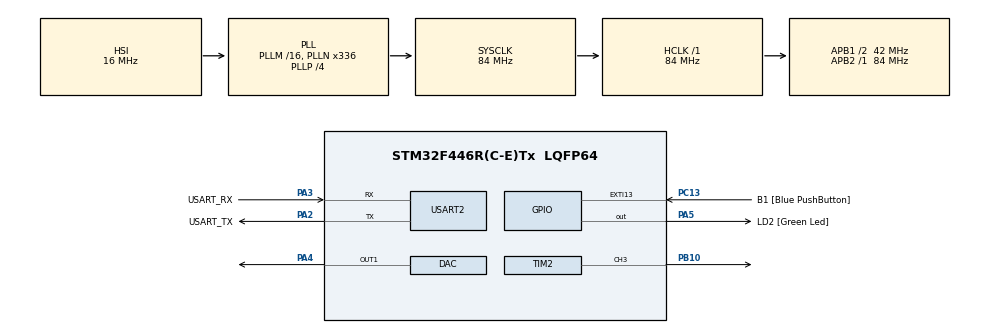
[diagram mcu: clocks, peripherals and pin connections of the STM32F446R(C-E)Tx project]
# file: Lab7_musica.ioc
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DAC.DAC_Trigger=DAC_TRIGGER_T6_TRGO
Dma.DAC1.0.Direction=DMA_MEMORY_TO_PERIPH
Dma.DAC1.0.FIFOMode=DMA_FIFOMODE_DISABLE
Dma.DAC1.0.Instance=DMA1_Stream5
Dma.DAC1.0.MemDataAlignment=DMA_MDATAALIGN_BYTE
Dma.DAC1.0.MemInc=DMA_MINC_ENABLE
Dma.DAC1.0.Mode=DMA_NORMAL
Dma.DAC1.0.PeriphDataAlignment=DMA_PDATAALIGN_BYTE
Dma.DAC1.0.PeriphInc=DMA_PINC_DISABLE
Dma.DAC1.0.Priority=DMA_PRIORITY_HIGH
Dma.Request0=DAC1
Mcu.Family=STM32F4
Mcu.Name=STM32F446R(C-E)Tx
Mcu.Package=LQFP64
NVIC.DMA1_Stream5_IRQn=true\:0\:0\:false\:false\:true\:false\:true\:true
NVIC.PriorityGroup=NVIC_PRIORITYGROUP_0
NVIC.TIM6_DAC_IRQn=true\:0\:0\:false\:false\:true\:true\:true\:true
NVIC.USART2_IRQn=true\:0\:0\:false\:false\:true\:true\:true\:true
PA13.GPIO_Label=TMS
PA13.Signal=SYS_JTMS-SWDIO
PA14.GPIO_Label=TCK
PA14.Signal=SYS_JTCK-SWCLK
PA2.GPIO_Label=USART_TX
PA2.Mode=Asynchronous
PA2.Signal=USART2_TX
PA3.GPIO_Label=USART_RX
PA3.Mode=Asynchronous
PA3.Signal=USART2_RX
PA4.Signal=COMP_DAC1_group
PA5.GPIO_Label=LD2 [Green Led]
PA5.Signal=GPIO_Output
PB10.Signal=S_TIM2_CH3
PB3.GPIO_Label=SWO
PB3.Signal=SYS_JTDO-SWO
PC13.GPIO_Label=B1 [Blue PushButton]
PC13.GPIO_ModeDefaultEXTI=GPIO_MODE_IT_FALLING
PC13.Signal=GPXTI13
PC14-OSC32_IN.Signal=RCC_OSC32_IN
PC15-OSC32_OUT.Signal=RCC_OSC32_OUT
PH0-OSC_IN.Signal=RCC_OSC_IN
PH1-OSC_OUT.Signal=RCC_OSC_OUT
ProjectManager.HeapSize=0x200
ProjectManager.StackSize=0x400
ProjectManager.TargetToolchain=STM32CubeIDE
RCC.AHBFreq_Value=84000000
RCC.APB1CLKDivider=RCC_HCLK_DIV2
RCC.APB1Freq_Value=42000000
RCC.APB1TimFreq_Value=84000000
RCC.APB2Freq_Value=84000000
RCC.APB2TimFreq_Value=84000000
RCC.CortexFreq_Value=84000000
RCC.FLatency-AdvancedSettings=FLASH_LATENCY_2
RCC.HCLKFreq_Value=84000000
RCC.HSE_VALUE=8000000
RCC.HSI_VALUE=16000000
RCC.LSE_VALUE=32768
RCC.PLLN=336
RCC.PLLP=RCC_PLLP_DIV4
RCC.SYSCLKFreq_VALUE=84000000
RCC.SYSCLKSource=RCC_SYSCLKSOURCE_PLLCLK
RCC.USBFreq_Value=168000000
RCC.VCOOutputFreq_Value=336000000
SH.COMP_DAC1_group.0=DAC_OUT1,DAC_OUT1
SH.S_TIM2_CH3.0=TIM2_CH3,PWM Generation3 CH3
TIM2.Channel-PWM\ Generation3\ CH3=TIM_CHANNEL_3
TIM2.Period=999
TIM2.Prescaler=83
TIM6.Period=10499
TIM6.TIM_MasterOutputTrigger=TIM_TRGO_UPDATE
USART2.VirtualMode=VM_ASYNC
VP_TIM2_VS_ClockSourceINT.Mode=Internal
VP_TIM6_VS_ClockSourceINT.Mode=Enable_Timer
board=NUCLEO-F446RE

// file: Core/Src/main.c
/* USER CODE BEGIN Header */
/**
  ******************************************************************************
  * @file           : main.c
  * @brief          : Main program body
  ******************************************************************************
  * @attention
  *
  * Copyright (c) 2026 STMicroelectronics.
  * All rights reserved.
  *
  * This software is licensed under terms that can be found in the LICENSE file
  * in the root directory of this software component.
  * If no LICENSE file comes with this software, it is provided AS-IS.
  *
  ******************************************************************************
  */
/* USER CODE END Header */
#include "main.h"

/* USER CODE BEGIN Includes */
#include <math.h>
#include <string.h>

/* USER CODE END Includes */

DAC_HandleTypeDef hdac;
DMA_HandleTypeDef hdma_dac1;

TIM_HandleTypeDef htim2;
TIM_HandleTypeDef htim6;

UART_HandleTypeDef huart2;

/* USER CODE BEGIN PV */
#define SAMPLE_RATE       8000U
#define DAC_MIDDLE        128U
#define DAC_AMPLITUDE     95.0f
#define AUDIO_BUFFER_SIZE 14000U
#define PI_F              3.14159265358979323846f
#define PWM_COUNTER_HZ 1000000U

static uint8_t dacBuffer[AUDIO_BUFFER_SIZE];

static volatile uint8_t dacFinished = 0;
static volatile uint8_t playRequest = 0;
static volatile uint8_t playing = 0;
static uint8_t uartRx;

/*
FelizNav:d=8,o=5,b=140:
a,4d6,c#6,d6,2b.,4p,b,4e6,d6,b,2a.,4p,
a,4d6,c#6,d6,4b.,g,4b,4b,a,a,b,a,4g,g,1f#
*/

static const uint16_t noteFrequency[] = {
    880, 1175, 1109, 1175, 988, 0,
    988, 1319, 1175, 988, 880, 0,
    880, 1175, 1109, 1175, 988, 784,
    988, 988, 880, 880, 988, 880,
    784, 784, 740
};

static const uint16_t noteDurationMs[] = {
    214, 429, 214, 214, 1286, 429,
    214, 429, 214, 214, 1286, 429,
    214, 429, 214, 214, 643, 214,
    429, 429, 214, 214, 214, 214,
    429, 214, 1714
};

#define NOTE_COUNT \
    (sizeof(noteFrequency) / sizeof(noteFrequency[0]))

/*
SuperMar:d=4,o=5,b=125:
a,8f.,16c,16d,16f,16p,f,16d,16c,16p,16f,16p,16f,16p,
8c6,8a.,g,16c,a,8f.,16c,16d,16f,16p,f,16d,16c,16p,
16f,16p,16a#,16a,16g,2f,16p,8a.,8f.,8c,8a.,f,16g#,
16f,16c,16p,8g#.,2g,8a.,8f.,8c,8a.,f,16g#,16f,8c,2c6
*/

static const uint16_t marioFrequency[] = {
    880, 698, 523, 587, 698, 0, 698, 587, 523, 0,
    698, 0, 698, 0, 1047, 880, 784, 523, 880, 698,
    523, 587, 698, 0, 698, 587, 523, 0, 698, 0,
    932, 880, 784, 698, 0, 880, 698, 523, 880, 698,
    831, 698, 523, 0, 831, 784, 880, 698, 523, 880,
    698, 831, 698, 523, 1047
};

static const uint16_t marioDurationMs[] = {
    480, 360, 120, 120, 120, 120, 480, 120, 120, 120,
    120, 120, 120, 120, 240, 360, 480, 120, 480, 360,
    120, 120, 120, 120, 480, 120, 120, 120, 120, 120,
    120, 120, 120, 960, 120, 360, 360, 240, 360, 480,
    120, 120, 120, 120, 360, 960, 360, 360, 240, 360,
    480, 120, 120, 240, 960
};

#define MARIO_NOTE_COUNT \
    (sizeof(marioFrequency) / sizeof(marioFrequency[0]))

/* USER CODE END PV */

void SystemClock_Config(void);
static void MX_GPIO_Init(void);
static void MX_DMA_Init(void);
static void MX_DAC_Init(void);
static void MX_TIM6_Init(void);
static void MX_USART2_UART_Init(void);
static void MX_TIM2_Init(void);
/* USER CODE BEGIN PFP */
static uint32_t GenerateNote(uint16_t frequency, uint16_t durationMs);
static void PlayFelizNavidadDAC(void);
static void PlaySuperMarioPWM(void);
static void ShowMenu(void);
/* USER CODE END PFP */

/* USER CODE BEGIN 0 */
static uint32_t GenerateNote(uint16_t frequency, uint16_t durationMs)
{
    uint32_t sampleCount =
        ((uint32_t)durationMs * SAMPLE_RATE) / 1000U;

    if (sampleCount > AUDIO_BUFFER_SIZE)
    {
        sampleCount = AUDIO_BUFFER_SIZE;
    }

    if (frequency == 0U)
    {
        memset(dacBuffer, DAC_MIDDLE, sampleCount);
        return sampleCount;
    }

    float phase = 0.0f;
    float phaseStep =
        (2.0f * PI_F * (float)frequency) / (float)SAMPLE_RATE;
    const uint32_t rampLength = SAMPLE_RATE / 200U;

    for (uint32_t i = 0; i < sampleCount; i++)
    {
        float envelope = 1.0f;

        if (i < rampLength)
        {
            envelope = (float)i / (float)rampLength;
        }
        else if ((sampleCount - i) <= rampLength)
        {
            envelope =
                (float)(sampleCount - i) / (float)rampLength;
        }

        float signal =
            (float)DAC_MIDDLE +
            DAC_AMPLITUDE * envelope * sinf(phase);

        if (signal > 255.0f)
        {
            signal = 255.0f;
        }
        else if (signal < 0.0f)
        {
            signal = 0.0f;
        }

        dacBuffer[i] = (uint8_t)signal;

        phase += phaseStep;

        if (phase >= (2.0f * PI_F))
        {
            phase -= 2.0f * PI_F;
        }
    }

    return sampleCount;
}

static void PlayFelizNavidadDAC(void)
{
    playing = 1;

    for (uint32_t note = 0; note < NOTE_COUNT; note++)
    {
        uint32_t sampleCount = GenerateNote(
            noteFrequency[note],
            noteDurationMs[note]
        );

        dacFinished = 0;
        __HAL_TIM_SET_COUNTER(&htim6, 0);

        if (HAL_DAC_Start_DMA(
                &hdac,
                DAC_CHANNEL_1,
                (uint32_t *)dacBuffer,
                sampleCount,
                DAC_ALIGN_8B_R) != HAL_OK)
        {
            Error_Handler();
        }

        if (HAL_TIM_Base_Start(&htim6) != HAL_OK)
        {
            Error_Handler();
        }

        while (dacFinished == 0)
        {
        }

        HAL_TIM_Base_Stop(&htim6);
        HAL_DAC_Stop_DMA(&hdac, DAC_CHANNEL_1);
    }

    HAL_DAC_Start(&hdac, DAC_CHANNEL_1);
    HAL_DAC_SetValue(
        &hdac,
        DAC_CHANNEL_1,
        DAC_ALIGN_8B_R,
        DAC_MIDDLE
    );

    playing = 0;
}

static void PlaySuperMarioPWM(void)
{
    playing = 1;

    if (HAL_TIM_PWM_Start(&htim2, TIM_CHANNEL_3) != HAL_OK)
    {
        Error_Handler();
    }

    for (uint32_t note = 0; note < MARIO_NOTE_COUNT; note++)
    {
        uint16_t frequency = marioFrequency[note];

        if (frequency == 0U)
        {
            __HAL_TIM_SET_COMPARE(&htim2, TIM_CHANNEL_3, 0);
        }
        else
        {
            uint32_t period = PWM_COUNTER_HZ / frequency;

            __HAL_TIM_SET_AUTORELOAD(&htim2, period - 1U);
            __HAL_TIM_SET_COMPARE(&htim2, TIM_CHANNEL_3, period / 2U);
            __HAL_TIM_SET_COUNTER(&htim2, 0);
            HAL_TIM_GenerateEvent(&htim2, TIM_EVENTSOURCE_UPDATE);
        }

        HAL_Delay(marioDurationMs[note]);
    }

    __HAL_TIM_SET_COMPARE(&htim2, TIM_CHANNEL_3, 0);
    HAL_TIM_PWM_Stop(&htim2, TIM_CHANNEL_3);

    playing = 0;
}

static void ShowMenu(void)
{
    static const char menu[] =
        "\r\n=== Reproductor DAC/PWM ===\r\n"
        "1: Feliz Navidad por DAC\r\n"
        "2: Super Mario por PWM\r\n"
        "Seleccione una opcion: ";

    HAL_UART_Transmit(
        &huart2,
        (uint8_t *)menu,
        sizeof(menu) - 1U,
        HAL_MAX_DELAY
    );
}
/* USER CODE END 0 */

int main(void)
{

  /* MCU Configuration--------------------------------------------------------*/

  /* Reset of all peripherals, Initializes the Flash interface and the Systick. */
  HAL_Init();

  /* Configure the system clock */
  SystemClock_Config();

  /* Initialize all configured peripherals */
  MX_GPIO_Init();
  MX_DMA_Init();
  MX_DAC_Init();
  MX_TIM6_Init();
  MX_USART2_UART_Init();
  MX_TIM2_Init();
  /* USER CODE BEGIN 2 */
  HAL_DAC_Start(&hdac, DAC_CHANNEL_1);

  HAL_DAC_SetValue(
      &hdac,
      DAC_CHANNEL_1,
      DAC_ALIGN_8B_R,
      DAC_MIDDLE
  );

  ShowMenu();

  HAL_UART_Receive_IT(&huart2, &uartRx, 1);
  /* USER CODE END 2 */

  /* Infinite loop */
  /* USER CODE BEGIN WHILE */
  while (1)
  {
    if (playRequest == 1)
    {
      playRequest = 0;

      PlayFelizNavidadDAC();

      HAL_UART_Transmit(
          &huart2,
          (uint8_t *)"\r\nReproduccion DAC terminada.\r\n",
          sizeof("\r\nReproduccion DAC terminada.\r\n") - 1U,
          HAL_MAX_DELAY
      );

      ShowMenu();
    }
    else if (playRequest == 2)
    {
      playRequest = 0;

      PlaySuperMarioPWM();

      HAL_UART_Transmit(
          &huart2,
          (uint8_t *)"\r\nReproduccion PWM terminada.\r\n",
          sizeof("\r\nReproduccion PWM terminada.\r\n") - 1U,
          HAL_MAX_DELAY
      );

      ShowMenu();
    }
    /* USER CODE END WHILE */

  }
}

void SystemClock_Config(void)
{
  RCC_OscInitTypeDef RCC_OscInitStruct = {0};
  RCC_ClkInitTypeDef RCC_ClkInitStruct = {0};

  /** Configure the main internal regulator output voltage
  */
  __HAL_RCC_PWR_CLK_ENABLE();
  __HAL_PWR_VOLTAGESCALING_CONFIG(PWR_REGULATOR_VOLTAGE_SCALE3);

  /** Initializes the RCC Oscillators according to the specified parameters
  * in the RCC_OscInitTypeDef structure.
  */
  RCC_OscInitStruct.OscillatorType = RCC_OSCILLATORTYPE_HSI;
  RCC_OscInitStruct.HSIState = RCC_HSI_ON;
  RCC_OscInitStruct.HSICalibrationValue = RCC_HSICALIBRATION_DEFAULT;
  RCC_OscInitStruct.PLL.PLLState = RCC_PLL_ON;
  RCC_OscInitStruct.PLL.PLLSource = RCC_PLLSOURCE_HSI;
  RCC_OscInitStruct.PLL.PLLM = 16;
  RCC_OscInitStruct.PLL.PLLN = 336;
  RCC_OscInitStruct.PLL.PLLP = RCC_PLLP_DIV4;
  RCC_OscInitStruct.PLL.PLLQ = 2;
  RCC_OscInitStruct.PLL.PLLR = 2;
  if (HAL_RCC_OscConfig(&RCC_OscInitStruct) != HAL_OK)
  {
    Error_Handler();
  }

  /** Initializes the CPU, AHB and APB buses clocks
  */
  RCC_ClkInitStruct.ClockType = RCC_CLOCKTYPE_HCLK|RCC_CLOCKTYPE_SYSCLK
                              |RCC_CLOCKTYPE_PCLK1|RCC_CLOCKTYPE_PCLK2;
  RCC_ClkInitStruct.SYSCLKSource = RCC_SYSCLKSOURCE_PLLCLK;
  RCC_ClkInitStruct.AHBCLKDivider = RCC_SYSCLK_DIV1;
  RCC_ClkInitStruct.APB1CLKDivider = RCC_HCLK_DIV2;
  RCC_ClkInitStruct.APB2CLKDivider = RCC_HCLK_DIV1;

  if (HAL_RCC_ClockConfig(&RCC_ClkInitStruct, FLASH_LATENCY_2) != HAL_OK)
  {
    Error_Handler();
  }
}

static void MX_DAC_Init(void)
{

  DAC_ChannelConfTypeDef sConfig = {0};

  /** DAC Initialization
  */
  hdac.Instance = DAC;
  if (HAL_DAC_Init(&hdac) != HAL_OK)
  {
    Error_Handler();
  }

  /** DAC channel OUT1 config
  */
  sConfig.DAC_Trigger = DAC_TRIGGER_T6_TRGO;
  sConfig.DAC_OutputBuffer = DAC_OUTPUTBUFFER_ENABLE;
  if (HAL_DAC_ConfigChannel(&hdac, &sConfig, DAC_CHANNEL_1) != HAL_OK)
  {
    Error_Handler();
  }

}

static void MX_TIM2_Init(void)
{

  TIM_ClockConfigTypeDef sClockSourceConfig = {0};
  TIM_MasterConfigTypeDef sMasterConfig = {0};
  TIM_OC_InitTypeDef sConfigOC = {0};

  htim2.Instance = TIM2;
  htim2.Init.Prescaler = 83;
  htim2.Init.CounterMode = TIM_COUNTERMODE_UP;
  htim2.Init.Period = 999;
  htim2.Init.ClockDivision = TIM_CLOCKDIVISION_DIV1;
  htim2.Init.AutoReloadPreload = TIM_AUTORELOAD_PRELOAD_DISABLE;
  if (HAL_TIM_Base_Init(&htim2) != HAL_OK)
  {
    Error_Handler();
  }
  sClockSourceConfig.ClockSource = TIM_CLOCKSOURCE_INTERNAL;
  if (HAL_TIM_ConfigClockSource(&htim2, &sClockSourceConfig) != HAL_OK)
  {
    Error_Handler();
  }
  if (HAL_TIM_PWM_Init(&htim2) != HAL_OK)
  {
    Error_Handler();
  }
  sMasterConfig.MasterOutputTrigger = TIM_TRGO_RESET;
  sMasterConfig.MasterSlaveMode = TIM_MASTERSLAVEMODE_DISABLE;
  if (HAL_TIMEx_MasterConfigSynchronization(&htim2, &sMasterConfig) != HAL_OK)
  {
    Error_Handler();
  }
  sConfigOC.OCMode = TIM_OCMODE_PWM1;
  sConfigOC.Pulse = 0;
  sConfigOC.OCPolarity = TIM_OCPOLARITY_HIGH;
  sConfigOC.OCFastMode = TIM_OCFAST_DISABLE;
  if (HAL_TIM_PWM_ConfigChannel(&htim2, &sConfigOC, TIM_CHANNEL_3) != HAL_OK)
  {
    Error_Handler();
  }
  HAL_TIM_MspPostInit(&htim2);

}

static void MX_TIM6_Init(void)
{

  TIM_MasterConfigTypeDef sMasterConfig = {0};

  htim6.Instance = TIM6;
  htim6.Init.Prescaler = 0;
  htim6.Init.CounterMode = TIM_COUNTERMODE_UP;
  htim6.Init.Period = 10499;
  htim6.Init.AutoReloadPreload = TIM_AUTORELOAD_PRELOAD_DISABLE;
  if (HAL_TIM_Base_Init(&htim6) != HAL_OK)
  {
    Error_Handler();
  }
  sMasterConfig.MasterOutputTrigger = TIM_TRGO_UPDATE;
  sMasterConfig.MasterSlaveMode = TIM_MASTERSLAVEMODE_DISABLE;
  if (HAL_TIMEx_MasterConfigSynchronization(&htim6, &sMasterConfig) != HAL_OK)
  {
    Error_Handler();
  }

}

static void MX_USART2_UART_Init(void)
{

  huart2.Instance = USART2;
  huart2.Init.BaudRate = 115200;
  huart2.Init.WordLength = UART_WORDLENGTH_8B;
  huart2.Init.StopBits = UART_STOPBITS_1;
  huart2.Init.Parity = UART_PARITY_NONE;
  huart2.Init.Mode = UART_MODE_TX_RX;
  huart2.Init.HwFlowCtl = UART_HWCONTROL_NONE;
  huart2.Init.OverSampling = UART_OVERSAMPLING_16;
  if (HAL_UART_Init(&huart2) != HAL_OK)
  {
    Error_Handler();
  }

}

static void MX_DMA_Init(void)
{

  /* DMA controller clock enable */
  __HAL_RCC_DMA1_CLK_ENABLE();

  /* DMA interrupt init */
  /* DMA1_Stream5_IRQn interrupt configuration */
  HAL_NVIC_SetPriority(DMA1_Stream5_IRQn, 0, 0);
  HAL_NVIC_EnableIRQ(DMA1_Stream5_IRQn);

}

static void MX_GPIO_Init(void)
{
  GPIO_InitTypeDef GPIO_InitStruct = {0};

  /* GPIO Ports Clock Enable */
  __HAL_RCC_GPIOC_CLK_ENABLE();
  __HAL_RCC_GPIOH_CLK_ENABLE();
  __HAL_RCC_GPIOA_CLK_ENABLE();
  __HAL_RCC_GPIOB_CLK_ENABLE();

  /*Configure GPIO pin Output Level */
  HAL_GPIO_WritePin(LD2_GPIO_Port, LD2_Pin, GPIO_PIN_RESET);

  /*Configure GPIO pin : B1_Pin */
  GPIO_InitStruct.Pin = B1_Pin;
  GPIO_InitStruct.Mode = GPIO_MODE_IT_FALLING;
  GPIO_InitStruct.Pull = GPIO_NOPULL;
  HAL_GPIO_Init(B1_GPIO_Port, &GPIO_InitStruct);

  /*Configure GPIO pin : LD2_Pin */
  GPIO_InitStruct.Pin = LD2_Pin;
  GPIO_InitStruct.Mode = GPIO_MODE_OUTPUT_PP;
  GPIO_InitStruct.Pull = GPIO_NOPULL;
  GPIO_InitStruct.Speed = GPIO_SPEED_FREQ_LOW;
  HAL_GPIO_Init(LD2_GPIO_Port, &GPIO_InitStruct);

}

/* USER CODE BEGIN 4 */
void HAL_UART_RxCpltCallback(UART_HandleTypeDef *huart)
{
    if (huart->Instance == USART2)
    {
        if (playing == 0)
        {
            if (uartRx == '1')
            {
                playRequest = 1;
            }
            else if (uartRx == '2')
            {
                playRequest = 2;
            }
        }

        HAL_UART_Receive_IT(&huart2, &uartRx, 1);
    }
}

void HAL_DAC_ConvCpltCallbackCh1(DAC_HandleTypeDef *hdacCallback)
{
    if (hdacCallback == &hdac)
    {
        dacFinished = 1;
    }
}

void HAL_DAC_ErrorCallbackCh1(DAC_HandleTypeDef *hdacCallback)
{
    if (hdacCallback == &hdac)
    {
        dacFinished = 1;
    }
}
/* USER CODE END 4 */

void Error_Handler(void)
{
  __disable_irq();
  while (1)
  {
  }
}
